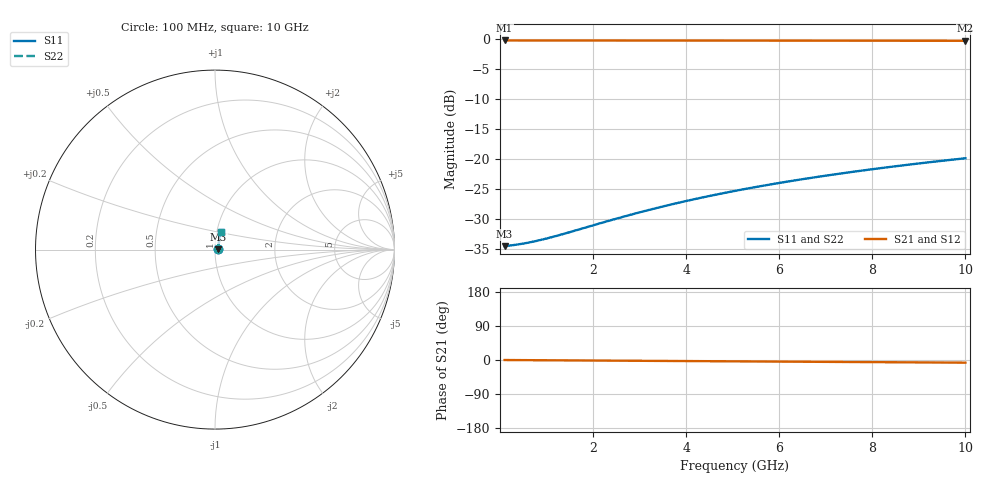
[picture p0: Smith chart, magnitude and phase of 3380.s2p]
# Hz S RI R 50.00
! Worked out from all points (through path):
!   100 points, 100 MHz to 10 GHz, reference 50 ohm
!   highest |S21| = -0.16 dB at 100 MHz (marker M1); lowest = -0.2 dB at 10 GHz (marker M2)
!   lowest |S11| = -34.5 dB at 100 MHz (marker M3), VSWR 1.04, Z = 51.9 + j0.102 ohm
!   |S11| at or under -10 dB: start of sweep to end of sweep
!   |S22| runs from -34.5 to -19.8 dB; largest |S21 - S12| = 0
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1e8  0.0188 0.000981  0.9812 -0.00121  0.9812 -0.00121  0.0188 0.000981
3e8  0.019 0.00294  0.981 -0.00362  0.981 -0.00362  0.019 0.00294
5e8  0.0191 0.0049  0.9809 -0.00602  0.9809 -0.00602  0.0191 0.0049
8e8  0.0193 0.00784  0.9807 -0.00964  0.9807 -0.00964  0.0193 0.00784
1e9  0.0194 0.0098  0.9806 -0.012  0.9806 -0.012  0.0194 0.0098
1.2e9  0.0195 0.0118  0.9804 -0.0145  0.9804 -0.0145  0.0195 0.0118
1.8e9  0.0199 0.0176  0.9801 -0.0217  0.9801 -0.0217  0.0199 0.0176
2.3e9  0.0203 0.0225  0.9797 -0.0277  0.9797 -0.0277  0.0203 0.0225
2.7e9  0.0206 0.0264  0.9794 -0.0325  0.9794 -0.0325  0.0206 0.0264
3.1e9  0.0209 0.0303  0.9791 -0.0373  0.9791 -0.0373  0.0209 0.0303
3.4e9  0.0212 0.0332  0.9788 -0.0409  0.9788 -0.0409  0.0212 0.0332
3.8e9  0.0216 0.0371  0.9784 -0.0457  0.9784 -0.0457  0.0216 0.0371
4.2e9  0.022 0.041  0.9779 -0.0505  0.9779 -0.0505  0.022 0.041
4.6e9  0.0225 0.0449  0.9775 -0.0552  0.9775 -0.0552  0.0225 0.0449
5.1e9  0.0231 0.0497  0.9768 -0.0612  0.9768 -0.0612  0.0231 0.0497
5.5e9  0.0237 0.0536  0.9762 -0.066  0.9762 -0.066  0.0237 0.0536
5.9e9  0.0242 0.0575  0.9757 -0.0707  0.9757 -0.0707  0.0242 0.0575
6.7e9  0.0255 0.0652  0.9744 -0.0802  0.9744 -0.0802  0.0255 0.0652
7.5e9  0.0269 0.0728  0.9729 -0.0897  0.9729 -0.0897  0.0269 0.0728
8.4e9  0.0287 0.0814  0.9711 -0.1003  0.9711 -0.1003  0.0287 0.0814
9.2e9  0.0304 0.089  0.9693 -0.1097  0.9693 -0.1097  0.0304 0.089
1e10  0.0323 0.0966  0.9674 -0.1191  0.9674 -0.1191  0.0323 0.0966
